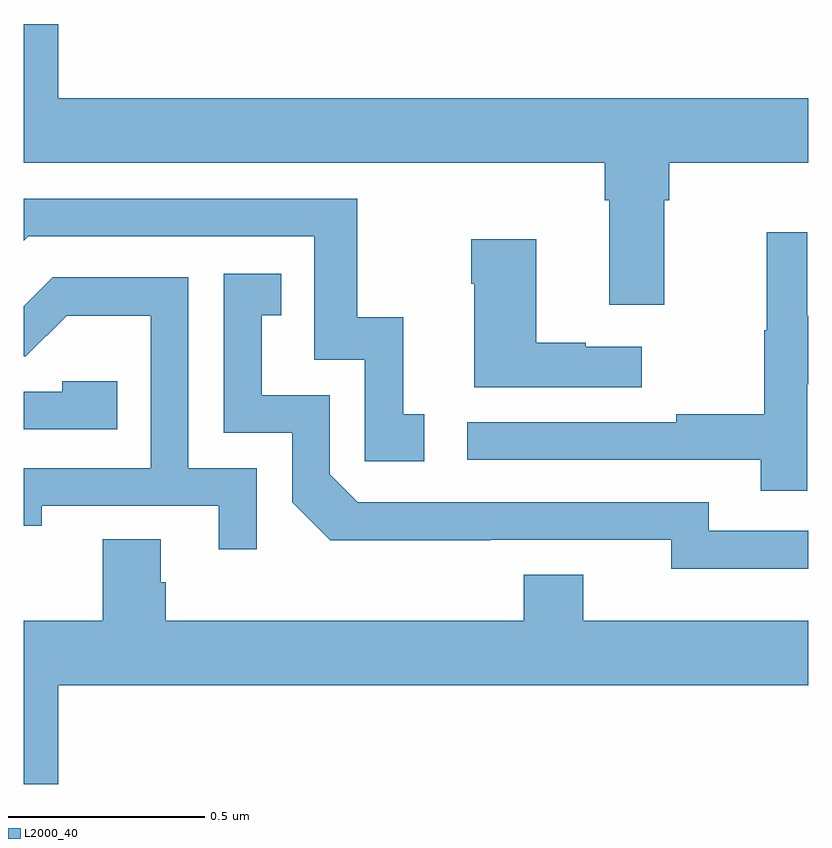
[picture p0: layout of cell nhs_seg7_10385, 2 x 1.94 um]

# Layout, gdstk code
import gdstk
lib = gdstk.Library(unit=1e-6, precision=1e-09)
def P(c, l, *ps):  # polygons
    for p in ps: c.add(gdstk.Polygon(p, *l))
L2000_40 = (2000, 40)

nhs_seg7_10385 = lib.new_cell('nhs_seg7_10385')
P(nhs_seg7_10385, L2000_40, [(250.633,1032.488),(250.646,1032.488),(250.646,1032.584),(251,1032.584),(251,1032.748),(249.088,1032.748),(249.088,1032.937),(249,1032.937),(249,1032.584),(250.481,1032.584),(250.481,1032.488),(250.493,1032.488),(250.493,1032.222),(250.633,1032.222)],
  [(250.021,1031.943),(249.968,1031.943),(249.968,1032.19),(249.85,1032.19),(249.85,1032.492),(249,1032.492),(249,1032.384),(249.012,1032.396),(249.741,1032.396),(249.741,1032.081),(249.87,1032.081),(249.87,1031.823),(250.021,1031.823)],
  [(250.997,1032.019),(251,1032.019),(251,1032.193),(250.997,1032.193),(250.997,1032.406),(250.894,1032.406),(250.894,1032.156),(250.887,1032.156),(250.887,1031.942),(250.663,1031.942),(250.663,1031.922),(250.131,1031.922),(250.131,1031.826),(250.879,1031.826),(250.879,1031.748),(250.997,1031.748)],
  [(250.576,1032.115),(250.433,1032.115),(250.433,1032.125),(250.306,1032.125),(250.306,1032.388),(250.141,1032.388),(250.141,1032.275),(250.148,1032.275),(250.148,1032.011),(250.576,1032.011)],
  [(251,1031.646),(250.746,1031.646),(250.746,1031.718),(249.852,1031.718),(249.78,1031.79),(249.78,1031.991),(249.607,1031.991),(249.607,1032.195),(249.656,1032.195),(249.656,1032.301),(249.51,1032.301),(249.51,1031.895),(249.684,1031.895),(249.684,1031.718),(249.782,1031.621),(250.19,1031.621),(250.19,1031.622),(250.65,1031.622),(250.65,1031.549),(251,1031.549)],
  [(249.594,1031.805),(249.42,1031.805),(249.42,1032.291),(249.074,1032.291),(249,1032.217),(249,1032.09),(249.006,1032.09),(249.11,1032.194),(249.324,1032.194),(249.324,1031.805),(249,1031.805),(249,1031.658),(249.046,1031.658),(249.046,1031.709),(249.497,1031.709),(249.497,1031.598),(249.594,1031.598)],
  [(249.239,1032.027),(249.099,1032.027),(249.099,1032),(249,1032),(249,1031.904),(249.239,1031.904)],
  [(249.088,1031.252),(251,1031.252),(251,1031.416),(250.426,1031.416),(250.426,1031.533),(250.274,1031.533),(250.274,1031.416),(249.362,1031.416),(249.362,1031.514),(249.349,1031.514),(249.349,1031.624),(249.202,1031.624),(249.202,1031.416),(249,1031.416),(249,1031),(249.088,1031)])

lib.write_gds('nhs_seg7_10385.gds')
